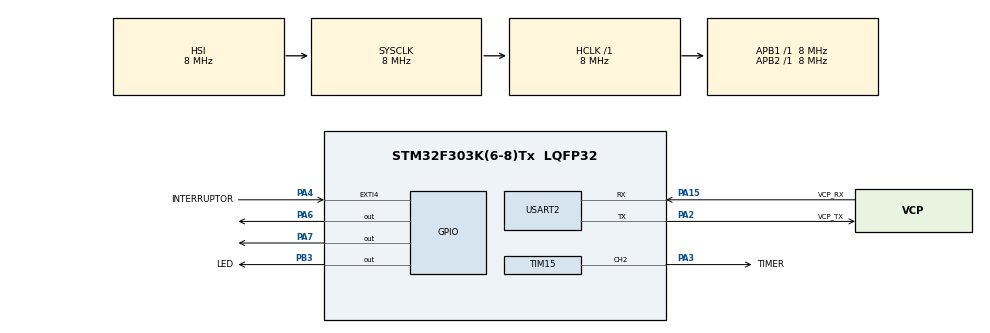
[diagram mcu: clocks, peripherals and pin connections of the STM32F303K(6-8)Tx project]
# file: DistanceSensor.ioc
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Mcu.Family=STM32F3
Mcu.Name=STM32F303K(6-8)Tx
Mcu.Package=LQFP32
NVIC.EXTI4_IRQn=true\:0\:0\:false\:false\:true\:true\:true\:true
NVIC.PriorityGroup=NVIC_PRIORITYGROUP_4
NVIC.TIM2_IRQn=true\:0\:0\:false\:false\:true\:true\:true\:true
PA13.GPIO_Label=SWDIO
PA13.Mode=Serial_Wire
PA13.Signal=SYS_JTMS-SWDIO
PA14.GPIO_Label=SWCLK
PA14.Mode=Serial_Wire
PA14.Signal=SYS_JTCK-SWCLK
PA15.GPIO_Label=VCP_RX
PA15.Mode=Asynchronous
PA15.Signal=USART2_RX
PA2.GPIO_Label=VCP_TX
PA2.Mode=Asynchronous
PA2.Signal=USART2_TX
PA3.GPIO_Label=TIMER
PA3.Signal=S_TIM15_CH2
PA4.GPIO_Label=INTERRUPTOR
PA4.GPIO_ModeDefaultEXTI=GPIO_MODE_IT_FALLING
PA4.Signal=GPXTI4
PA6.Signal=GPIO_Output
PA7.Signal=GPIO_Output
PB3.GPIO_Label=LED
PB3.Signal=GPIO_Output
PF0\ /\ OSC_IN.GPIO_Label=MCO
PF0\ /\ OSC_IN.Mode=HSE-External-Clock-Source
PF0\ /\ OSC_IN.Signal=RCC_OSC_IN
ProjectManager.HeapSize=0x200
ProjectManager.StackSize=0x400
ProjectManager.TargetToolchain=STM32CubeIDE
RCC.AHBFreq_Value=8000000
RCC.APB1Freq_Value=8000000
RCC.APB2Freq_Value=8000000
RCC.CortexFreq_Value=8000000
RCC.HSE_VALUE=8000000
RCC.HSI_VALUE=8000000
RCC.SYSCLKFreq_VALUE=8000000
SH.S_TIM15_CH2.0=TIM15_CH2,PWM Generation2 CH2
TIM15.Channel-PWM\ Generation2\ CH2=TIM_CHANNEL_2
TIM2.Period=4294967295
TIM2.Prescaler=71
USART2.VirtualMode-Asynchronous=VM_ASYNC
VP_TIM2_VS_ClockSourceINT.Mode=Internal
board=NUCLEO-F303K8

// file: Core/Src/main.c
/* USER CODE BEGIN Header */
/**
  ******************************************************************************
  * @file           : main.c
  * @brief          : Main program body
  ******************************************************************************
  * @attention
  *
  * Copyright (c) 2024 STMicroelectronics.
  * All rights reserved.
  *
  * This software is licensed under terms that can be found in the LICENSE file
  * in the root directory of this software component.
  * If no LICENSE file comes with this software, it is provided AS-IS.
  *
  ******************************************************************************
  */
/* USER CODE END Header */
#include "main.h"

/* USER CODE BEGIN Includes */
#include "stdio.h"
#include "string.h"
/* USER CODE END Includes */

/* USER CODE BEGIN PD */
#define INTERRUPTOR_Pin GPIO_PIN_4
#define INTERRUPTOR_GPIO_Port GPIOA
#define LED_Pin GPIO_PIN_3
#define LED_GPIO_Port GPIOB

/* USER CODE END PD */

/* USER CODE BEGIN PM */
#define MOTOR_PIN GPIO_PIN_6 // Pin conectado al motor vibrador
#define MOTOR_PORT GPIOA     // Puerto GPIO
/* USER CODE END PM */

TIM_HandleTypeDef htim2;
TIM_HandleTypeDef htim15;

UART_HandleTypeDef huart2;

/* USER CODE BEGIN PV */
static uint32_t distance_cm = 0;
uint8_t contador = 0;
volatile uint8_t flag = 0;
volatile uint32_t delay_ms = 0, rebotes = 0;
uint8_t cadena_tiempos_pulsacion[5];

uint8_t posicion_cadena = 0;
uint8_t lleno = 0;
uint8_t tiempo_pulsacion = 0;
uint8_t num_total_tiempo = 0;
uint8_t posicion_real = 0;
uint8_t valor_anterior = 0;
/* USER CODE END PV */

void SystemClock_Config(void);
static void MX_GPIO_Init(void);
static void MX_USART2_UART_Init(void);
static void MX_TIM2_Init(void);
static void MX_TIM15_Init(void);
/* USER CODE BEGIN PFP */
void ReiniciarSistema(uint8_t *cadena_tiempos_pulsacion, uint8_t *num_total_tiempo, uint8_t *posicion_cadena, uint8_t *posicion_real, uint8_t *lleno, uint8_t *contador);
void NotificarUrgencia(void);
void NotificarNoUrgencia(void);
static void Ultrasonic_Trigger(void);
static uint32_t Ultrasonic_ReadEcho(void);
//static uint32_t LeerDistancia(void);
static void ControlarVibrador(uint32_t distancia);
static void ProcesarBoton(void);
/* USER CODE END PFP */

int main(void)
{

  /* MCU Configuration--------------------------------------------------------*/

  /* Reset of all peripherals, Initializes the Flash interface and the Systick. */
  HAL_Init();

  /* Configure the system clock */
  SystemClock_Config();

  /* Initialize all configured peripherals */
  MX_GPIO_Init();
  MX_USART2_UART_Init();
  MX_TIM2_Init();
  MX_TIM15_Init();
  /* USER CODE BEGIN 2 */
  HAL_TIM_Base_Start(&htim2);
  /* USER CODE END 2 */

  /* Infinite loop */
  /* USER CODE BEGIN WHILE */
  static uint32_t last_update = 0;
  while (1)
  {
	  uint32_t current_tick = HAL_GetTick(); // Tiempo actual en ms desde el arranque
	  // Medir distancia y controlar vibrador cada 500ms (ejemplo)
	  if ((current_tick - last_update) >= 500) {
		  last_update = current_tick;
		  Ultrasonic_Trigger();
		  distance_cm = Ultrasonic_ReadEcho();
		  // Aquí podés también imprimir la distancia por UART si quieres, por ejemplo:
		  // char buffer[50];
		  // snprintf(buffer, sizeof(buffer), "Distancia: %ld cm\r\n", distance_cm);
		  // HAL_UART_Transmit(&huart2, (uint8_t*)buffer, strlen(buffer), HAL_MAX_DELAY);
		  ControlarVibrador(distance_cm);
	  }
	  // Lógica del boton
      ProcesarBoton();
      // Pequeño retardo para no saturar el bucle
      HAL_Delay(5);
    /* USER CODE END WHILE */

  }
}

void SystemClock_Config(void)
{
  RCC_OscInitTypeDef RCC_OscInitStruct = {0};
  RCC_ClkInitTypeDef RCC_ClkInitStruct = {0};

  /** Initializes the RCC Oscillators according to the specified parameters
  * in the RCC_OscInitTypeDef structure.
  */
  RCC_OscInitStruct.OscillatorType = RCC_OSCILLATORTYPE_HSI;
  RCC_OscInitStruct.HSIState = RCC_HSI_ON;
  RCC_OscInitStruct.HSICalibrationValue = RCC_HSICALIBRATION_DEFAULT;
  RCC_OscInitStruct.PLL.PLLState = RCC_PLL_NONE;
  if (HAL_RCC_OscConfig(&RCC_OscInitStruct) != HAL_OK)
  {
    Error_Handler();
  }

  /** Initializes the CPU, AHB and APB buses clocks
  */
  RCC_ClkInitStruct.ClockType = RCC_CLOCKTYPE_HCLK|RCC_CLOCKTYPE_SYSCLK
                              |RCC_CLOCKTYPE_PCLK1|RCC_CLOCKTYPE_PCLK2;
  RCC_ClkInitStruct.SYSCLKSource = RCC_SYSCLKSOURCE_HSI;
  RCC_ClkInitStruct.AHBCLKDivider = RCC_SYSCLK_DIV1;
  RCC_ClkInitStruct.APB1CLKDivider = RCC_HCLK_DIV1;
  RCC_ClkInitStruct.APB2CLKDivider = RCC_HCLK_DIV1;

  if (HAL_RCC_ClockConfig(&RCC_ClkInitStruct, FLASH_LATENCY_0) != HAL_OK)
  {
    Error_Handler();
  }
}

static void MX_TIM2_Init(void)
{

  TIM_ClockConfigTypeDef sClockSourceConfig = {0};
  TIM_MasterConfigTypeDef sMasterConfig = {0};

  htim2.Instance = TIM2;
  htim2.Init.Prescaler = 71;
  htim2.Init.CounterMode = TIM_COUNTERMODE_UP;
  htim2.Init.Period = 4294967295;
  htim2.Init.ClockDivision = TIM_CLOCKDIVISION_DIV1;
  htim2.Init.AutoReloadPreload = TIM_AUTORELOAD_PRELOAD_DISABLE;
  if (HAL_TIM_Base_Init(&htim2) != HAL_OK)
  {
    Error_Handler();
  }
  sClockSourceConfig.ClockSource = TIM_CLOCKSOURCE_INTERNAL;
  if (HAL_TIM_ConfigClockSource(&htim2, &sClockSourceConfig) != HAL_OK)
  {
    Error_Handler();
  }
  sMasterConfig.MasterOutputTrigger = TIM_TRGO_RESET;
  sMasterConfig.MasterSlaveMode = TIM_MASTERSLAVEMODE_DISABLE;
  if (HAL_TIMEx_MasterConfigSynchronization(&htim2, &sMasterConfig) != HAL_OK)
  {
    Error_Handler();
  }

}

static void MX_TIM15_Init(void)
{

  TIM_MasterConfigTypeDef sMasterConfig = {0};
  TIM_OC_InitTypeDef sConfigOC = {0};
  TIM_BreakDeadTimeConfigTypeDef sBreakDeadTimeConfig = {0};

  htim15.Instance = TIM15;
  htim15.Init.Prescaler = 0;
  htim15.Init.CounterMode = TIM_COUNTERMODE_UP;
  htim15.Init.Period = 65535;
  htim15.Init.ClockDivision = TIM_CLOCKDIVISION_DIV1;
  htim15.Init.RepetitionCounter = 0;
  htim15.Init.AutoReloadPreload = TIM_AUTORELOAD_PRELOAD_DISABLE;
  if (HAL_TIM_PWM_Init(&htim15) != HAL_OK)
  {
    Error_Handler();
  }
  sMasterConfig.MasterOutputTrigger = TIM_TRGO_RESET;
  sMasterConfig.MasterSlaveMode = TIM_MASTERSLAVEMODE_DISABLE;
  if (HAL_TIMEx_MasterConfigSynchronization(&htim15, &sMasterConfig) != HAL_OK)
  {
    Error_Handler();
  }
  sConfigOC.OCMode = TIM_OCMODE_PWM1;
  sConfigOC.Pulse = 0;
  sConfigOC.OCPolarity = TIM_OCPOLARITY_HIGH;
  sConfigOC.OCNPolarity = TIM_OCNPOLARITY_HIGH;
  sConfigOC.OCFastMode = TIM_OCFAST_DISABLE;
  sConfigOC.OCIdleState = TIM_OCIDLESTATE_RESET;
  sConfigOC.OCNIdleState = TIM_OCNIDLESTATE_RESET;
  if (HAL_TIM_PWM_ConfigChannel(&htim15, &sConfigOC, TIM_CHANNEL_2) != HAL_OK)
  {
    Error_Handler();
  }
  sBreakDeadTimeConfig.OffStateRunMode = TIM_OSSR_DISABLE;
  sBreakDeadTimeConfig.OffStateIDLEMode = TIM_OSSI_DISABLE;
  sBreakDeadTimeConfig.LockLevel = TIM_LOCKLEVEL_OFF;
  sBreakDeadTimeConfig.DeadTime = 0;
  sBreakDeadTimeConfig.BreakState = TIM_BREAK_DISABLE;
  sBreakDeadTimeConfig.BreakPolarity = TIM_BREAKPOLARITY_HIGH;
  sBreakDeadTimeConfig.BreakFilter = 0;
  sBreakDeadTimeConfig.AutomaticOutput = TIM_AUTOMATICOUTPUT_DISABLE;
  if (HAL_TIMEx_ConfigBreakDeadTime(&htim15, &sBreakDeadTimeConfig) != HAL_OK)
  {
    Error_Handler();
  }
  HAL_TIM_MspPostInit(&htim15);

}

static void MX_USART2_UART_Init(void)
{

  huart2.Instance = USART2;
  huart2.Init.BaudRate = 38400;
  huart2.Init.WordLength = UART_WORDLENGTH_8B;
  huart2.Init.StopBits = UART_STOPBITS_1;
  huart2.Init.Parity = UART_PARITY_NONE;
  huart2.Init.Mode = UART_MODE_TX_RX;
  huart2.Init.HwFlowCtl = UART_HWCONTROL_NONE;
  huart2.Init.OverSampling = UART_OVERSAMPLING_16;
  huart2.Init.OneBitSampling = UART_ONE_BIT_SAMPLE_DISABLE;
  huart2.AdvancedInit.AdvFeatureInit = UART_ADVFEATURE_NO_INIT;
  if (HAL_UART_Init(&huart2) != HAL_OK)
  {
    Error_Handler();
  }

}

static void MX_GPIO_Init(void)
{
  GPIO_InitTypeDef GPIO_InitStruct = {0};

  /* GPIO Ports Clock Enable */
  __HAL_RCC_GPIOF_CLK_ENABLE();
  __HAL_RCC_GPIOA_CLK_ENABLE();
  __HAL_RCC_GPIOB_CLK_ENABLE();

  /*Configure GPIO pin Output Level */
  HAL_GPIO_WritePin(GPIOA, GPIO_PIN_6|GPIO_PIN_7, GPIO_PIN_RESET);

  /*Configure GPIO pin Output Level */
  HAL_GPIO_WritePin(LED_GPIO_Port, LED_Pin, GPIO_PIN_RESET);

  /*Configure GPIO pin : INTERRUPTOR_Pin */
  GPIO_InitStruct.Pin = INTERRUPTOR_Pin;
  GPIO_InitStruct.Mode = GPIO_MODE_IT_FALLING;
  GPIO_InitStruct.Pull = GPIO_NOPULL;
  HAL_GPIO_Init(INTERRUPTOR_GPIO_Port, &GPIO_InitStruct);

  /*Configure GPIO pins : PA6 PA7 */
  GPIO_InitStruct.Pin = GPIO_PIN_6|GPIO_PIN_7;
  GPIO_InitStruct.Mode = GPIO_MODE_OUTPUT_PP;
  GPIO_InitStruct.Pull = GPIO_NOPULL;
  GPIO_InitStruct.Speed = GPIO_SPEED_FREQ_LOW;
  HAL_GPIO_Init(GPIOA, &GPIO_InitStruct);

  /*Configure GPIO pin : LED_Pin */
  GPIO_InitStruct.Pin = LED_Pin;
  GPIO_InitStruct.Mode = GPIO_MODE_OUTPUT_PP;
  GPIO_InitStruct.Pull = GPIO_NOPULL;
  GPIO_InitStruct.Speed = GPIO_SPEED_FREQ_LOW;
  HAL_GPIO_Init(LED_GPIO_Port, &GPIO_InitStruct);

  /* EXTI interrupt init*/
  HAL_NVIC_SetPriority(EXTI4_IRQn, 0, 0);
  HAL_NVIC_EnableIRQ(EXTI4_IRQn);

}

/* USER CODE BEGIN 4 */
// Función para enviar el pulso TRIG
void Ultrasonic_Trigger(void)
{
    GPIO_InitTypeDef GPIO_InitStruct = {0};

    // Configurar PA7 como salida para TRIG
    GPIO_InitStruct.Pin = GPIO_PIN_7;
    GPIO_InitStruct.Mode = GPIO_MODE_OUTPUT_PP;
    GPIO_InitStruct.Pull = GPIO_NOPULL;
    GPIO_InitStruct.Speed = GPIO_SPEED_FREQ_LOW;
    HAL_GPIO_Init(GPIOA, &GPIO_InitStruct);

    // Generar un pulso de 10 µs en TRIG
    HAL_GPIO_WritePin(GPIOA, GPIO_PIN_7, GPIO_PIN_SET);
    HAL_Delay(0); // Breve retardo para asegurar el pulso de 10 µs
    HAL_GPIO_WritePin(GPIOA, GPIO_PIN_7, GPIO_PIN_RESET);
}
uint32_t Ultrasonic_ReadEcho(void)
{
    uint32_t start_time, stop_time;

    // Configurar PA7 como entrada para ECHO
    GPIO_InitTypeDef GPIO_InitStruct = {0};
    GPIO_InitStruct.Pin = GPIO_PIN_7;
    GPIO_InitStruct.Mode = GPIO_MODE_INPUT;
    GPIO_InitStruct.Pull = GPIO_NOPULL;
    HAL_GPIO_Init(GPIOA, &GPIO_InitStruct);

    // Esperar a que ECHO se eleve a HIGH
    while (HAL_GPIO_ReadPin(GPIOA, GPIO_PIN_7) == GPIO_PIN_RESET);

    // Capturar el tiempo de inicio con el temporizador
    start_time = __HAL_TIM_GET_COUNTER(&htim2);

    // Esperar a que ECHO baje a LOW
    while (HAL_GPIO_ReadPin(GPIOA, GPIO_PIN_7) == GPIO_PIN_SET);

    // Capturar el tiempo de finalización con el temporizador
    stop_time = __HAL_TIM_GET_COUNTER(&htim2);

    // Calcular el tiempo transcurrido
	uint32_t time_in_microseconds = stop_time - start_time;

	// Si el valor es demasiado grande, posiblemente hay un overflow
	if (time_in_microseconds > 0xFFFFFF)
	{
		time_in_microseconds = 0;
	}

	// Convertir el tiempo en distancia (cm), usando la fórmula
	// Velocidad del sonido en cm/µs: 0.0343 cm/µs
	uint32_t distance_in_cm = ((time_in_microseconds * 0.0343) / 2)*10;

	return distance_in_cm;
}

/*static uint32_t LeerDistancia(void)
{
    // 1. Enviar el pulso TRIG
    Ultrasonic_Trigger();
    // 2. Leer el tiempo de respuesta del pulso ECHO
    uint32_t dist = Ultrasonic_ReadEcho();

   // 3. Imprimir la distancia a través del UART
    char buffer[50];
    snprintf(buffer, sizeof(buffer), "Distancia: %ld cm\r\n", dist);
    HAL_UART_Transmit(&huart2, (uint8_t*)buffer, strlen(buffer), HAL_MAX_DELAY);

    return dist;
}*/

static void ControlarVibrador(uint32_t distancia)
{
    uint32_t vibration_on_time = 0;
    uint32_t vibration_off_time = 0;

    if (distancia <= 200 && distancia > 180) {
        vibration_on_time = 30;
        vibration_off_time = 150;
    } else if (distancia <= 180 && distancia > 165) {
        vibration_on_time = 30;
        vibration_off_time = 120;
    } else if (distancia <= 165 && distancia > 140) {
        vibration_on_time = 35;
        vibration_off_time = 100;
    } else if (distancia <= 140 && distancia > 125) {
        vibration_on_time = 40;
        vibration_off_time = 80;
    } else if (distancia <= 125 && distancia > 110) {
        vibration_on_time = 45;
        vibration_off_time = 60;
    } else if (distancia <= 110 && distancia > 95) {
        vibration_on_time = 50;
        vibration_off_time = 50;
    } else if (distancia <= 95 && distancia > 80) {
        vibration_on_time = 60;
        vibration_off_time = 40;
    } else if (distancia <= 80 && distancia > 65) {
        vibration_on_time = 70;
        vibration_off_time = 30;
    } else if (distancia <= 65 && distancia > 40) {
        vibration_on_time = 80;
        vibration_off_time = 20;
    } else if (distancia <= 40 && distancia > 25) {
        vibration_on_time = 90;
        vibration_off_time = 10;
    } else if (distancia <= 25 && distancia > 10) {
        vibration_on_time = 100;
        vibration_off_time = 5;
    } else if (distancia <= 10) {
        // Vibración constante
        HAL_GPIO_WritePin(MOTOR_PORT, MOTOR_PIN, GPIO_PIN_SET);
        return;
    } else {
        // Apagar el motor cuando está a más de 200 cm
        HAL_GPIO_WritePin(MOTOR_PORT, MOTOR_PIN, GPIO_PIN_RESET);
        return;
    }

    // Generar la vibración si la distancia está en el rango 10-200
    HAL_GPIO_WritePin(MOTOR_PORT, MOTOR_PIN, GPIO_PIN_SET);
    HAL_Delay(vibration_on_time);
    HAL_GPIO_WritePin(MOTOR_PORT, MOTOR_PIN, GPIO_PIN_RESET);
    HAL_Delay(vibration_off_time);
}

static void ProcesarBoton(void)
{
    if (!flag) return;

    if (lleno) {
        tiempo_pulsacion = delay_ms - valor_anterior;
    } else {
        lleno = 1;
        tiempo_pulsacion = delay_ms;
    }

    if (posicion_cadena > 4) {
        num_total_tiempo -= cadena_tiempos_pulsacion[posicion_real];
    }
    num_total_tiempo += tiempo_pulsacion;
    cadena_tiempos_pulsacion[posicion_real] = tiempo_pulsacion;

    if (num_total_tiempo < 10000 && posicion_cadena >= 4) {
        NotificarUrgencia();
        ReiniciarSistema(cadena_tiempos_pulsacion, &num_total_tiempo, &posicion_cadena, &posicion_real, &lleno, &contador);
    } else if (tiempo_pulsacion < 3000) {
        contador++;
        if (contador >= 2) {
            NotificarNoUrgencia();
            contador = 0;
        }
    } else {
        contador = 1;
    }

    // Imprimir el número de pulsaciones
    char mensaje_pulsaciones[50];
    sprintf(mensaje_pulsaciones, "Numero de pulsaciones: %d\n\r", contador);
    HAL_UART_Transmit(&huart2, (uint8_t *)mensaje_pulsaciones, strlen(mensaje_pulsaciones), 1000);

    if (posicion_cadena >= 4) {
        if (posicion_real == 4) {
            posicion_real = 0;
        } else {
            posicion_real++;
        }
    } else {
        valor_anterior = delay_ms;
        posicion_real++;
        posicion_cadena++;
    }
    flag = 0;
}

void ReiniciarSistema(uint8_t *cadena_tiempos_pulsacion, uint8_t *num_total_tiempo, uint8_t *posicion_cadena, uint8_t *posicion_real, uint8_t *lleno, uint8_t *contador) {
    memset(cadena_tiempos_pulsacion, 0, sizeof(uint8_t) * 5);
    *num_total_tiempo = 0;
    *posicion_cadena = 0;
    *posicion_real = -1;
    *lleno = 0;
    *contador = 0;

    char cadena[50];
    sprintf(cadena, "El sistema se ha reiniciado.\n\r");
    HAL_UART_Transmit(&huart2, (uint8_t *)cadena, strlen(cadena), 1000);
}

void NotificarUrgencia(void) {
    char cadena[50];
    sprintf(cadena, "¡¡AYUDA URGENTE, AYUDA URGENTE!!\n\r");
    HAL_UART_Transmit(&huart2, (uint8_t *)cadena, strlen(cadena), 1000);
    for (int i = 0; i < 10; i++) {
        HAL_GPIO_TogglePin(LED_GPIO_Port, LED_Pin);
        HAL_Delay(100);
    }

    // Asegurar que el LED quede apagado al final
    HAL_GPIO_WritePin(LED_GPIO_Port, LED_Pin, GPIO_PIN_RESET);
}

void NotificarNoUrgencia(void) {
    char cadena[50];
    sprintf(cadena, "Necesito ayuda pero no es una urgencia.\n\r");
    HAL_UART_Transmit(&huart2, (uint8_t *)cadena, strlen(cadena), 1000);
    // HAL_GPIO_TogglePin(LED_GPIO_Port, LED_Pin);
    // HAL_Delay(3000);
}
/* USER CODE END 4 */

void Error_Handler(void)
{
  __disable_irq();
  while (1)
  {
  }
}
